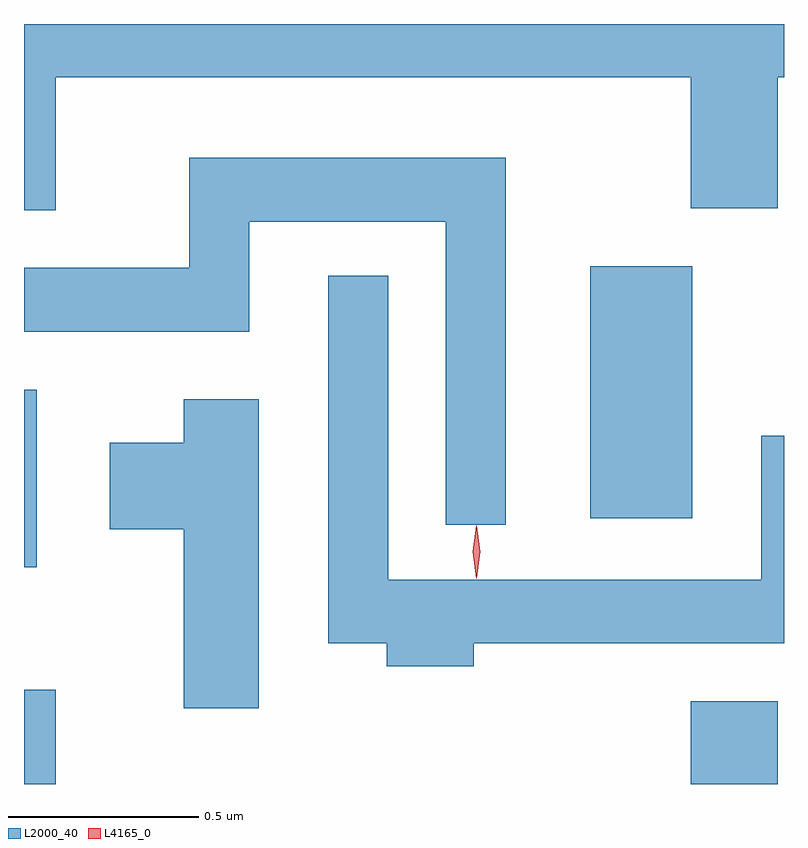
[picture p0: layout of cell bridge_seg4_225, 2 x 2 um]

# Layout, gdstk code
import gdstk
lib = gdstk.Library(unit=1e-6, precision=1e-09)
def R(c, l, rs):  # rectangles x0, y0, x1, y1
    for r in rs: c.add(gdstk.rectangle(r[:2], r[2:], *l))
def P(c, l, *ps):  # polygons
    for p in ps: c.add(gdstk.Polygon(p, *l))
L2000_40 = (2000, 40)
L4165_0 = (4165, 0)

bridge_seg4_225 = lib.new_cell('bridge_seg4_225')
R(bridge_seg4_225, L2000_40, [(1049.966,1255.136,1050.049,1255.384), (1051.721,1255.136,1051.949,1255.354), (1049.966,1255.706,1049.999,1256.174), (1051.456,1255.836,1051.724,1256.499)])
P(bridge_seg4_225, L2000_40, [(1050.049,1256.996),(1051.721,1256.996),(1051.721,1256.651),(1051.949,1256.651),(1051.949,1256.996),(1051.966,1256.996),(1051.966,1257.136),(1049.966,1257.136),(1049.966,1256.646),(1050.049,1256.646)],
  [(1051.234,1256.784),(1050.401,1256.784),(1050.401,1256.494),(1049.966,1256.494),(1049.966,1256.326),(1050.559,1256.326),(1050.559,1256.616),(1051.076,1256.616),(1051.076,1255.818),(1051.234,1255.818)],
  [(1051.149,1255.506),(1051.966,1255.506),(1051.966,1256.053),(1051.906,1256.053),(1051.906,1255.674),(1050.924,1255.674),(1050.924,1256.473),(1050.766,1256.473),(1050.766,1255.506),(1050.921,1255.506),(1050.921,1255.446),(1051.149,1255.446)],
  [(1050.584,1256.149),(1050.386,1256.149),(1050.386,1256.034),(1050.191,1256.034),(1050.191,1255.806),(1050.386,1255.806),(1050.386,1255.336),(1050.584,1255.336)])
P(bridge_seg4_225, L4165_0, [(1051.156,1255.677),(1051.147,1255.747),(1051.156,1255.816),(1051.157,1255.816),(1051.158,1255.816),(1051.167,1255.747),(1051.158,1255.677),(1051.157,1255.677)])

lib.write_gds('bridge_seg4_225.gds')
